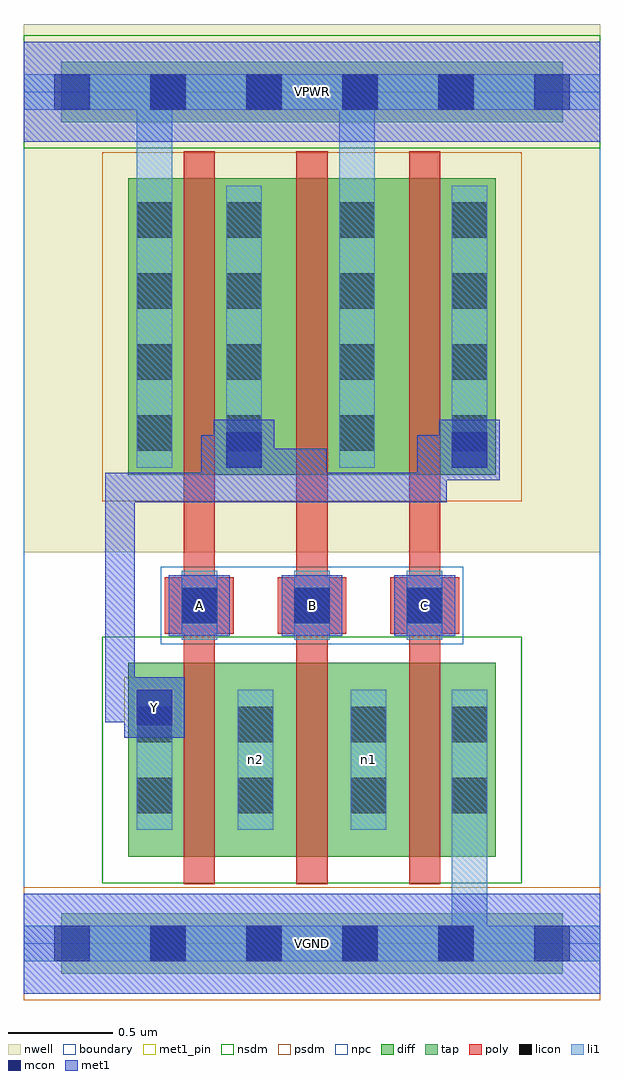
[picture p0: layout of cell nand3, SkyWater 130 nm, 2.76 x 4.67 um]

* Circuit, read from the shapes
.subckt nand3 A B C VGND VPWR Y n1 n2
XM1 n2 A Y VGND sky130_fd_pr__nfet_01v8 w=0.93 l=0.15
XM2 n1 B n2 VGND sky130_fd_pr__nfet_01v8 w=0.93 l=0.15
XM3 VGND C n1 VGND sky130_fd_pr__nfet_01v8 w=0.93 l=0.15
XM4 Y A VPWR VPWR sky130_fd_pr__pfet_01v8 w=1.42 l=0.15
XM5 VPWR B Y VPWR sky130_fd_pr__pfet_01v8 w=1.42 l=0.15
XM6 Y C VPWR VPWR sky130_fd_pr__pfet_01v8 w=1.42 l=0.15
.ends

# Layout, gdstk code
import gdstk
lib = gdstk.Library(unit=1e-6, precision=1e-09)
def R(c, l, rs):  # rectangles x0, y0, x1, y1
    for r in rs: c.add(gdstk.rectangle(r[:2], r[2:], *l))
def A(c, l, x, y, w, h, nx, ny, dx, dy):  # array of equal rectangles
    R(c, l, [(x+i*dx, y+j*dy, x+i*dx+w, y+j*dy+h) for i in range(nx) for j in range(ny)])
nwell = (64, 20)
diff = (65, 20)
tap = (65, 44)
poly = (66, 20)
licon = (66, 44)
li1 = (67, 20)
mcon = (67, 44)
met1_pin = (68, 16)
met1 = (68, 20)
nsdm = (93, 44)
psdm = (94, 20)
npc = (95, 20)
boundary = (235, 4)

nand3 = lib.new_cell('nand3')
R(nand3, nwell, [(0,1.875,2.76,4.405)])
R(nand3, diff, [(0.5,0.415,2.26,1.345), (0.5,2.245,2.26,3.665)])
R(nand3, tap, [(0.18,-0.145,2.58,0.145), (0.18,3.935,2.58,4.225)])
A(nand3, poly, 0.765, 0.285, 0.15, 3.51, 3, 1, 0.54, 0)
A(nand3, poly, 0.675, 1.485, 0.33, 0.27, 3, 1, 0.54, 0)
A(nand3, licon, 0.605, -0.085, 0.17, 0.17, 4, 2, 0.46, 4.08)
A(nand3, licon, 0.755, 1.535, 0.17, 0.17, 3, 1, 0.54, 0)
A(nand3, licon, 0.54, 2.36, 0.17, 0.17, 1, 4, 0, 0.34)
A(nand3, licon, 0.97, 2.36, 0.17, 0.17, 3, 4, 0.54, 0.34)
R(nand3, licon, [(0.54,0.625,0.71,0.795), (1.025,0.625,1.195,0.795), (1.565,0.625,1.735,0.795), (2.05,0.625,2.22,0.795), (0.54,0.965,0.71,1.135), (1.025,0.965,1.195,1.135), (1.565,0.965,1.735,1.135), (2.05,0.965,2.22,1.135)])
A(nand3, li1, 0.755, 1.455, 0.17, 0.33, 3, 1, 0.54, 0)
A(nand3, li1, 0.97, 2.28, 0.17, 1.35, 3, 1, 0.54, 0)
R(nand3, li1, [(0,-0.085,2.76,0.085), (2.05,-0.085,2.22,1.215), (0.54,0.545,0.71,1.215), (1.025,0.545,1.195,1.215), (1.565,0.545,1.735,1.215), (2.05,0.545,2.22,1.215), (0.54,2.28,0.71,3.63), (0.54,2.28,0.71,4.165), (1.51,2.28,1.68,4.165), (0,3.995,2.76,4.165)])
A(nand3, mcon, 0.145, -0.085, 0.17, 0.17, 6, 2, 0.46, 4.08)
A(nand3, mcon, 0.755, 1.535, 0.17, 0.17, 3, 1, 0.54, 0)
R(nand3, mcon, [(0.54,1.045,0.71,1.215), (0.97,2.28,1.14,2.45), (2.05,2.28,2.22,2.45)])
A(nand3, met1_pin, 0.695, 1.475, 0.29, 0.29, 3, 1, 0.54, 0)
R(nand3, met1_pin, [(0,-0.24,2.76,0.24), (0.48,0.985,0.77,1.275), (0,3.84,2.76,4.32)])
A(nand3, met1, 0.695, 1.475, 0.29, 0.29, 3, 1, 0.54, 0)
R(nand3, met1, [(0,-0.24,2.76,0.24), (0.48,0.985,0.77,1.275), (0.39,1.06,0.695,1.2), (0.39,1.06,0.53,1.335), (0.39,1.195,0.53,2.255), (0.39,2.115,0.99,2.255), (0.85,2.115,0.99,2.435), (0.85,2.115,1.335,2.255), (1.195,2.115,1.335,2.37), (1.31,2.115,1.45,2.37), (1.31,2.115,2.025,2.255), (1.885,2.115,2.025,2.435), (0.91,2.22,1.2,2.51), (1.99,2.22,2.28,2.51), (1.195,2.23,1.45,2.37), (0.85,2.255,1.125,2.295), (0.85,2.295,1.125,2.435), (1.885,2.295,2.205,2.435), (0,3.84,2.76,4.32)])
R(nand3, nsdm, [(0.375,0.29,2.385,1.47), (0,3.81,2.76,4.35)])
R(nand3, psdm, [(0,-0.27,2.76,0.27), (0.375,2.12,2.385,3.79)])
R(nand3, npc, [(0.655,1.435,2.105,1.805)])
R(nand3, boundary, [(0,0,2.76,4.08)])
nand3.add(gdstk.Label('n2', (1.11,0.88), layer=67, texttype=5))
nand3.add(gdstk.Label('n1', (1.65,0.88), layer=67, texttype=5))
nand3.add(gdstk.Label('Y', (0.625,1.13), layer=68, texttype=5))
nand3.add(gdstk.Label('A', (0.84,1.62), layer=68, texttype=5))
nand3.add(gdstk.Label('B', (1.38,1.62), layer=68, texttype=5))
nand3.add(gdstk.Label('C', (1.92,1.62), layer=68, texttype=5))
nand3.add(gdstk.Label('VPWR', (1.38,4.08), layer=68, texttype=5))
nand3.add(gdstk.Label('VGND', (1.38,0), layer=68, texttype=5))
nand3.add(gdstk.Label('Y', (0.625,1.13), layer=68, texttype=16))
nand3.add(gdstk.Label('A', (0.84,1.62), layer=68, texttype=16))
nand3.add(gdstk.Label('B', (1.38,1.62), layer=68, texttype=16))
nand3.add(gdstk.Label('C', (1.92,1.62), layer=68, texttype=16))
nand3.add(gdstk.Label('VPWR', (1.38,4.08), layer=68, texttype=16))
nand3.add(gdstk.Label('VGND', (1.38,0), layer=68, texttype=16))

lib.write_gds('nand3.gds')
